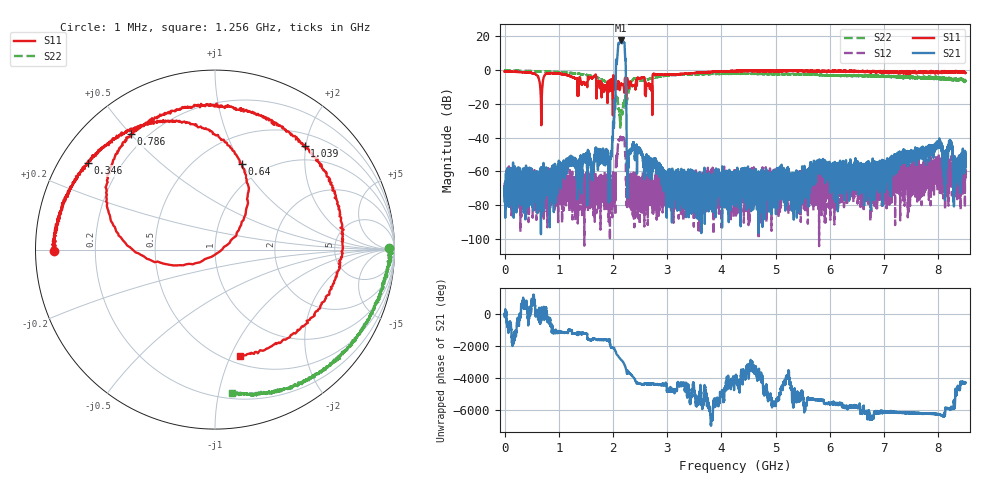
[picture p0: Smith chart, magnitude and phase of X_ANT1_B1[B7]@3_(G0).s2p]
#  HZ  S  RI  R  50.00
! Rohde & Schwarz Vector Network Analyzer
! Rohde-Schwarz,ZNBT8-20Port,1318700624101681,3.50
! Created: UTC 7/15/2025, 2:13:12 PM
! freq[Hz]  re:S1010  im:S1010  re:S0310  im:S0310  re:S1003  im:S1003  re:S33  im:S33
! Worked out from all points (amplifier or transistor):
!   8500 points, 1 MHz to 8.5 GHz, reference 50 ohm
!   highest |S21| = 17.5 dB at 2.143 GHz (marker M1)
!   |S21| within 3 dB of that: 2.095 GHz to 2.215 GHz (119.8 MHz wide, 5.56 % of centre)
!   unconditionally stable (mu >= 1): start of sweep to end of sweep
!   at 1.417 GHz: K = 371609.15, MAG = -51.7 dB, |S12| = -70.0 dB
!   at 4.251 GHz: K = 100269.51, MAG = -51.8 dB, |S12| = -66.8 dB
!   at 8.5 GHz: K = 41625.01, MAG = -48.5 dB, |S12| = -56.0 dB
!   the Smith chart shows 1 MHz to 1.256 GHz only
!   S11 on the Smith chart (normalised r, x): 1 MHz: 0.05, -0.00; 346 MHz: 0.08, +0.31; 640 MHz: 0.79, +1.00; 786 MHz: 0.14, +0.50; 1.039 GHz: 0.71, +1.98; 1.256 GHz: 0.58, -1.09
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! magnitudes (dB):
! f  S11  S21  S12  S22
! 1 MHz  -0.9  -71.5  -72.1  -0.3
! 346 MHz  -1.3  -75.4  -72.6  -0.5
! 640 MHz  -6.0  -75.2  -63.9  -0.8
! 786 MHz  -2.0  -59.6  -60.6  -1.0
! 1.039 GHz  -2.3  -70.1  -77.1  -1.4
! 1.256 GHz  -4.3  -54.3  -67.3  -1.9
! 1.418 GHz  -8.3  -57.6  -78.6  -2.5
! 1.947 GHz  -11.0  -61.3  -80.2  -9.8
! 2.009 GHz  -3.2  -31.0  -70.6  -24.8
! 2.089 GHz  -8.7  11.9  -45.5  -18.3
! 2.143 GHz  -8.6  17.5  -39.6  -26.7
! 2.205 GHz  -11.9  16.2  -40.6  -19.2
! 2.292 GHz  -10.5  -49.1  -70.2  -12.4
! 2.834 GHz  -2.8  -55.0  -64.5  -4.1
! 4.251 GHz  -0.7  -64.5  -66.8  -2.1
! 5.667 GHz  -0.3  -62.8  -70.8  -2.7
! 7.084 GHz  -1.2  -55.1  -64.8  -3.6
! 8.012 GHz  -1.6  -41.7  -66.9  -5.1
! 8.117 GHz  -0.8  -59.1  -55.7  -5.5
! 8.225 GHz  -1.3  -41.9  -63.8  -5.2
! 8.322 GHz  -1.4  -58.2  -74.8  -5.4
! 8.5 GHz  -1.7  -54.6  -56.0  -6.2
